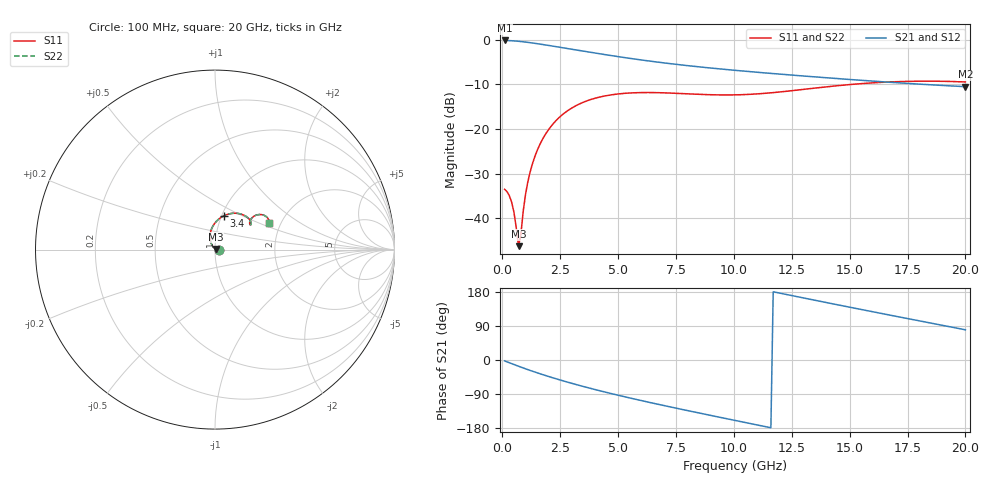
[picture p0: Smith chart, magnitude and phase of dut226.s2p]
! Created with skrf 1.9.0 (http://scikit-rf.org).
# GHz S RI R 50.0
!freq ReS11 ImS11 ReS21 ImS21 ReS12 ImS12 ReS22 ImS22
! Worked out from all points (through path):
!   200 points, 100 MHz to 20 GHz, reference 50 ohm
!   highest |S21| = -0.19 dB at 100 MHz (marker M1); lowest = -10.5 dB at 20 GHz (marker M2)
!   group delay of S21, straight-line fit = 36.9 ps
!   lowest |S11| = -46.3 dB at 700 MHz (marker M3), VSWR 1.01, Z = 50.4 + j0.33 ohm
!   |S11| at or under -10 dB: start of sweep to 15.17 GHz
!   |S22| runs from -46.3 to -9.3 dB; largest |S21 - S12| = 1.7e-15
!   S11 on the Smith chart (normalised r, x): 100 MHz: 1.04, -0.00; 3.4 GHz: 1.02, +0.40; 20 GHz: 1.74, +0.58
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0.1  0.021 -0.000506  0.9772 -0.0411  0.9772 -0.0411  0.021 -0.000506
0.3  0.0179 -0.00139  0.9666 -0.1217  0.9666 -0.1217  0.0179 -0.00139
0.4  0.0152 -0.00123  0.9577 -0.1608  0.9577 -0.1608  0.0152 -0.00123
0.5  0.0118 -0.00048  0.9465 -0.199  0.9465 -0.199  0.0118 -0.00048
0.7  0.00358 0.00327  0.9181 -0.2715  0.9181 -0.2715  0.00358 0.00327
0.8  -0.000908 0.00642  0.9012 -0.3056  0.9012 -0.3056  -0.000908 0.00642
0.9  -0.00544 0.0104  0.8828 -0.3383  0.8828 -0.3383  -0.00544 0.0104
1  -0.00986 0.0153  0.863 -0.3693  0.863 -0.3693  -0.00986 0.0153
1.1  -0.014 0.021  0.842 -0.3987  0.842 -0.3987  -0.014 0.021
1.3  -0.0211 0.0346  0.7972 -0.4527  0.7972 -0.4527  -0.0211 0.0346
1.5  -0.0258 0.0505  0.7495 -0.5002  0.7495 -0.5002  -0.0258 0.0505
1.9  -0.0269 0.0859  0.649 -0.5771  0.649 -0.5771  -0.0269 0.0859
2.3  -0.0168 0.121  0.5464 -0.6324  0.5464 -0.6324  -0.0168 0.121
3.4  0.048 0.1877  0.2775 -0.6967  0.2775 -0.6967  0.048 0.1877
3.5  0.055 0.191  0.2549 -0.6975  0.2549 -0.6975  0.055 0.191
5.1  0.1518 0.1956  -0.0491 -0.6369  -0.0491 -0.6369  0.1518 0.1956
6.8  0.197 0.1605  -0.2595 -0.4913  -0.2595 -0.4913  0.197 0.1605
8.4  0.2005 0.1395  -0.3736 -0.3292  -0.3736 -0.3292  0.2005 0.1395
10.1  0.1934 0.1429  -0.4244 -0.1537  -0.4244 -0.1537  0.1934 0.1429
13.4  0.2158 0.1851  -0.3582 0.1383  -0.3582 0.1383  0.2158 0.1851
16.7  0.2764 0.1896  -0.1608 0.2917  -0.1608 0.2917  0.2764 0.1896
20  0.3008 0.1483  0.0531 0.2923  0.0531 0.2923  0.3008 0.1483
